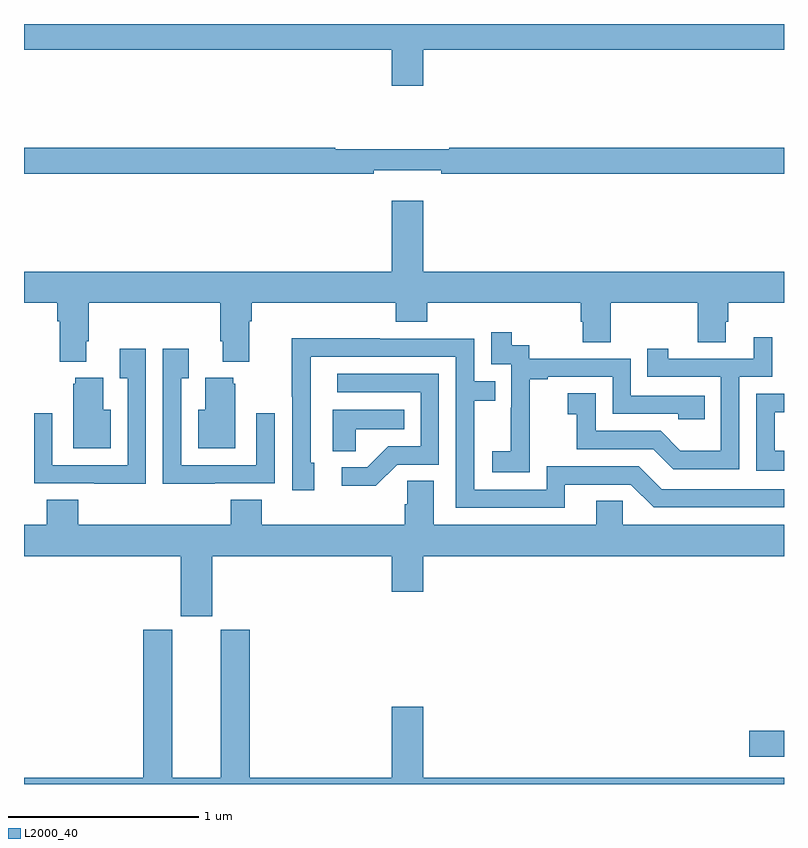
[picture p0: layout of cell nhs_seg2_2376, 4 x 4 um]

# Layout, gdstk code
import gdstk
lib = gdstk.Library(unit=1e-6, precision=1e-09)
def R(c, l, rs):  # rectangles x0, y0, x1, y1
    for r in rs: c.add(gdstk.rectangle(r[:2], r[2:], *l))
def P(c, l, *ps):  # polygons
    for p in ps: c.add(gdstk.Polygon(p, *l))
L2000_40 = (2000, 40)

nhs_seg2_2376 = lib.new_cell('nhs_seg2_2376')
R(nhs_seg2_2376, L2000_40, [(238.818,615.944,239,616.079)])
P(nhs_seg2_2376, L2000_40, [(237.1,619.664),(239,619.664),(239,619.8),(235,619.8),(235,619.664),(236.936,619.664),(236.936,619.476),(237.1,619.476)],
  [(236.84,619.031),(237.196,619.031),(237.196,619.012),(239,619.012),(239,619.148),(237.238,619.148),(237.238,619.141),(236.638,619.141),(236.638,619.148),(235,619.148),(235,619.012),(236.84,619.012)],
  [(237.1,618.871),(236.936,618.871),(236.936,618.496),(235,618.496),(235,618.332),(235.175,618.332),(235.175,618.236),(235.187,618.236),(235.187,618.023),(235.327,618.023),(235.327,618.13),(235.34,618.13),(235.34,618.332),(236.033,618.332),(236.033,618.13),(236.045,618.13),(236.045,618.023),(236.185,618.023),(236.185,618.236),(236.198,618.236),(236.198,618.332),(236.957,618.332),(236.957,618.233),(237.122,618.233),(237.122,618.332),(237.929,618.332),(237.929,618.234),(237.941,618.234),(237.941,618.124),(238.089,618.124),(238.089,618.332),(238.546,618.332),(238.546,618.124),(238.693,618.124),(238.693,618.234),(238.706,618.234),(238.706,618.332),(239,618.332),(239,618.496),(237.1,618.496)],
  [(237.663,617.647),(237.662,617.647),(237.662,617.931),(237.757,617.931),(237.757,617.943),(238.098,617.943),(238.098,617.748),(238.443,617.748),(238.443,617.721),(238.583,617.721),(238.583,617.844),(238.194,617.844),(238.194,618.039),(237.66,618.039),(237.66,618.108),(237.568,618.108),(237.568,618.178),(237.459,618.178),(237.459,618.009),(237.564,618.009),(237.564,617.78),(237.563,617.78),(237.563,617.551),(237.465,617.551),(237.465,617.441),(237.663,617.441)],
  [(238.764,617.943),(238.938,617.943),(238.938,618.151),(238.841,618.151),(238.841,618.039),(238.39,618.039),(238.39,618.091),(238.279,618.091),(238.279,617.943),(238.668,617.943),(238.668,617.554),(238.454,617.554),(238.35,617.658),(238.008,617.658),(238.008,617.857),(237.861,617.857),(237.861,617.747),(237.91,617.747),(237.91,617.562),(238.313,617.562),(238.418,617.457),(238.764,617.457)],
  [(237.847,617.376),(238.194,617.376),(238.314,617.256),(239,617.256),(239,617.352),(238.356,617.352),(238.236,617.472),(237.75,617.472),(237.75,617.349),(237.369,617.349),(237.369,617.818),(237.479,617.818),(237.479,617.919),(237.369,617.919),(237.369,618.144),(236.873,618.144),(236.873,618.146),(236.41,618.146),(236.41,617.839),(236.412,617.839),(236.412,617.346),(236.527,617.346),(236.527,617.49),(236.508,617.49),(236.508,618.048),(237.273,618.048),(237.273,617.253),(237.847,617.253)],
  [(235.641,618.091),(235.505,618.091),(235.505,617.935),(235.545,617.935),(235.545,617.478),(235.149,617.478),(235.149,617.752),(235.053,617.752),(235.053,617.382),(235.369,617.382),(235.369,617.381),(235.641,617.381)],
  [(236.003,617.382),(236.319,617.382),(236.319,617.752),(236.223,617.752),(236.223,617.478),(235.827,617.478),(235.827,617.935),(235.867,617.935),(235.867,618.091),(235.731,618.091),(235.731,617.381),(236.003,617.381)],
  [(236.964,617.481),(237.183,617.481),(237.183,617.958),(236.649,617.958),(236.649,617.862),(237.087,617.862),(237.087,617.577),(236.918,617.577),(236.807,617.466),(236.673,617.466),(236.673,617.369),(236.851,617.369)],
  [(236.113,617.907),(236.102,617.907),(236.102,617.938),(235.955,617.938),(235.955,617.77),(235.916,617.77),(235.916,617.567),(236.113,617.567)],
  [(235.456,617.77),(235.417,617.77),(235.417,617.938),(235.271,617.938),(235.271,617.907),(235.259,617.907),(235.259,617.567),(235.456,617.567)],
  [(239,617.553),(238.951,617.553),(238.951,617.757),(239,617.757),(239,617.853),(238.854,617.853),(238.854,617.448),(239,617.448)],
  [(236.745,617.666),(237.002,617.666),(237.002,617.77),(236.624,617.77),(236.624,617.551),(236.745,617.551)],
  [(235.99,617),(236.936,617),(236.936,616.812),(237.1,616.812),(237.1,617),(239,617),(239,617.164),(238.152,617.164),(238.152,617.291),(238.013,617.291),(238.013,617.164),(237.157,617.164),(237.157,617.396),(237.018,617.396),(237.018,617.273),(237.005,617.273),(237.005,617.164),(236.252,617.164),(236.252,617.297),(236.087,617.297),(236.087,617.164),(235.286,617.164),(235.286,617.297),(235.121,617.297),(235.121,617.164),(235,617.164),(235,617),(235.826,617),(235.826,616.683),(235.99,616.683)],
  [(239,615.832),(237.1,615.832),(237.1,616.207),(236.936,616.207),(236.936,615.832),(236.189,615.832),(236.189,616.611),(236.036,616.611),(236.036,615.832),(235.78,615.832),(235.78,616.611),(235.628,616.611),(235.628,615.832),(235,615.832),(235,615.8),(239,615.8)])

lib.write_gds('nhs_seg2_2376.gds')
